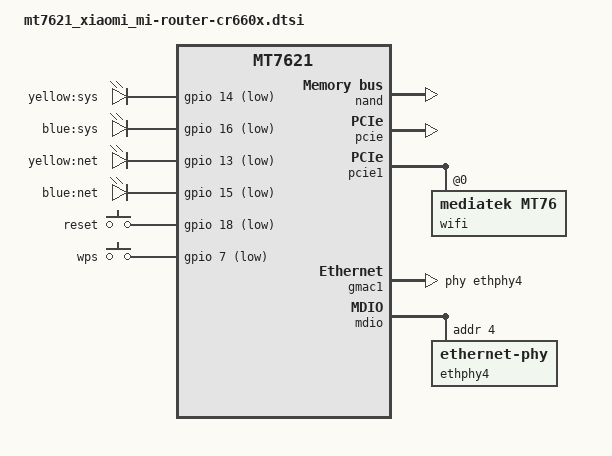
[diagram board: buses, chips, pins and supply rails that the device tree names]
// SPDX-License-Identifier: GPL-2.0-or-later OR MIT

#include "mt7621.dtsi"

#include <dt-bindings/gpio/gpio.h>
#include <dt-bindings/input/input.h>

/ {
	aliases {
		led-boot = &led_sys_yellow;
		led-failsafe = &led_sys_yellow;
		led-running = &led_sys_blue;
		led-upgrade = &led_sys_yellow;
		label-mac-device = &gmac0;
	};

	chosen {
		bootargs = "console=ttyS0,115200n8";
	};

	leds {
		compatible = "gpio-leds";

		led_sys_yellow: sys_yellow {
			label = "yellow:sys";
			gpios = <&gpio 14 GPIO_ACTIVE_LOW>;
		};

		led_sys_blue: sys_blue {
			label = "blue:sys";
			gpios = <&gpio 16 GPIO_ACTIVE_LOW>;
		};

		net_yellow {
			label = "yellow:net";
			gpios = <&gpio 13 GPIO_ACTIVE_LOW>;
		};

		net_blue {
			label = "blue:net";
			gpios = <&gpio 15 GPIO_ACTIVE_LOW>;
		};
	};

	keys {
		compatible = "gpio-keys";

		reset {
			label = "reset";
			gpios = <&gpio 18 GPIO_ACTIVE_LOW>;
			linux,code = <KEY_RESTART>;
		};

		wps {
			label = "wps";
			gpios = <&gpio 7 GPIO_ACTIVE_LOW>;
			linux,code = <KEY_WPS_BUTTON>;
		};
	};
};

&nand {
	status = "okay";

	partitions {
		compatible = "fixed-partitions";
		#address-cells = <1>;
		#size-cells = <1>;

		partition@0 {
			label = "Bootloader";
			reg = <0x0 0x80000>;
			read-only;
		};

		partition@80000 {
			label = "Nvram";
			reg = <0x80000 0x40000>;
			read-only;
		};

		partition@c0000 {
			label = "Bdata";
			reg = <0xc0000 0x40000>;
			read-only;
		};

		factory: partition@100000 {
			label = "Factory";
			reg = <0x100000 0x80000>;
			read-only;
		};

		partition@180000 {
			label = "crash";
			reg = <0x180000 0x40000>;
			read-only;
		};

		partition@1c0000 {
			label = "crash_log";
			reg = <0x1c0000 0x40000>;
			read-only;
		};

		/* "kernel" and "ubi" partition is the result of
		 * squashing next consecutive stock partitions:
		 * 1. firmware  0x0200000 - 0x2000000 (Stock firmware 0)
		 * 2. firmware1 0x2000000 - 0x3e00000 (Stock firmware 1)
		 * 3. overlay   0x3e00000 - 0x7000000 (Stock fw Ubi overlay)
		 * 4. obr       0x7000000 - 0x8000000 (Unallocated?)
		 */

		partition@200000 {
			label = "kernel";
			reg = <0x200000 0x400000>;
		};

		partition@600000 {
			label = "ubi";
			reg = <0x600000 0x7980000>;
		};

		/*
		 * Leave 512 KiB for the bad block table
		 */
	};
};

&pcie {
	status = "okay";
};

&pcie1 {
	wifi@0,0 {
		compatible = "mediatek,mt76";
		reg = <0x0000 0 0 0 0>;
		mediatek,mtd-eeprom = <&factory 0x0>;
		mediatek,disable-radar-background;
	};
};

&gmac0 {
	nvmem-cells = <&macaddr_factory_3fff4>;
	nvmem-cell-names = "mac-address";
};

&gmac1 {
	status = "okay";
	label = "wan";
	phy-handle = <&ethphy4>;

	nvmem-cells = <&macaddr_factory_3fffa>;
	nvmem-cell-names = "mac-address";
};

&mdio {
	ethphy4: ethernet-phy@4 {
		reg = <4>;
	};
};

&switch0 {
	ports {
		port@0 {
			status = "okay";
			label = "lan1";
		};

		port@1 {
			status = "okay";
			label = "lan2";
		};

		port@2 {
			status = "okay";
			label = "lan3";
		};
	};
};

&state_default {
	gpio {
		groups = "jtag", "uart3", "wdt";
		function = "gpio";
	};
};

&factory {
	compatible = "nvmem-cells";
	#address-cells = <1>;
	#size-cells = <1>;

	macaddr_factory_3fff4: macaddr@3fff4 {
		reg = <0x3fff4 0x6>;
	};

	macaddr_factory_3fffa: macaddr@3fffa {
		reg = <0x3fffa 0x6>;
	};
};
